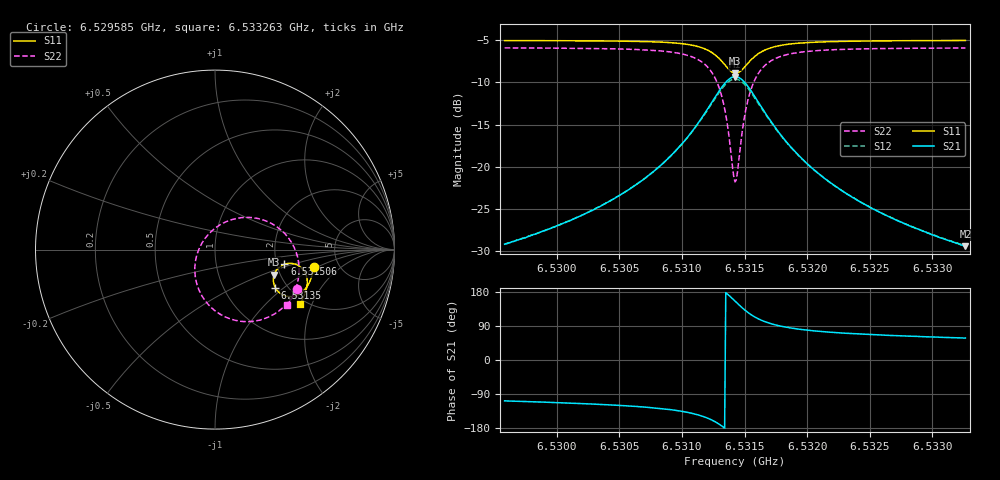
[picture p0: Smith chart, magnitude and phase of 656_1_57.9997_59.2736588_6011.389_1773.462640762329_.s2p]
#  HZ  S  RI  R  50.00
! Rohde & Schwarz Vector Network Analyzer
! Rohde-Schwarz,ZNB20-2Port,1311601062101988,3.16
! Created: UTC 3/21/2024, 1:19:45 AM
! freq[Hz]  re:S11  im:S11  re:S21  im:S21  re:S12  im:S12  re:S22  im:S22
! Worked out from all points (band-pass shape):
!   401 points, 6.529585 GHz to 6.533263 GHz, reference 50 ohm
!   highest |S21| = -9.31 dB at 6.531424 GHz (marker M1); lowest = -29.5 dB at 6.533263 GHz (marker M2)
!   |S21| within 3 dB of the highest: 6.531241 GHz to 6.531609 GHz (367.5 kHz wide, 0.00563 % of centre)
!   lowest |S11| = -8.9 dB at 6.531424 GHz (marker M3), VSWR 2.12, Z = 93.1 - j29.7 ohm
!   |S11| at or under -10 dB: nowhere
!   |S22| runs from -21.8 to -5.9 dB; largest |S21 - S12| = 0.014
!   S11 on the Smith chart (normalised r, x): 6.529585 GHz: 3.25, -0.94; 6.53135 GHz: 1.73, -0.87; 6.531506 GHz: 2.21, -0.43; 6.533263 GHz: 1.84, -1.64
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6.5295847e9  0.5515 -0.0996  -0.0105 -0.033  -0.0114 -0.0326  0.4586 -0.2169
6.5302007e9  0.538 -0.1521  -0.0218 -0.0466  -0.0229 -0.046  0.4225 -0.2754
6.5305685e9  0.5233 -0.1878  -0.0374 -0.0619  -0.0392 -0.0611  0.3818 -0.3204
6.5308168e9  0.5055 -0.2164  -0.0609 -0.079  -0.0631 -0.077  0.3298 -0.3595
6.5310375e9  0.4732 -0.246  -0.1089 -0.0991  -0.1119 -0.095  0.2338 -0.3962
6.5311938e9  0.4223 -0.2618  -0.1884 -0.1004  -0.19 -0.0921  0.0905 -0.3879
6.5312857e9  0.3716 -0.2491  -0.2659 -0.0621  -0.2632 -0.0506  -0.0358 -0.3076
6.5313225e9  0.3495 -0.2315  -0.2981 -0.0255  -0.292 -0.0138  -0.0823 -0.24
6.5313501e9  0.3356 -0.2116  -0.317 0.0126  -0.3078 0.0232  -0.1057 -0.1735
6.5314053e9  0.3257 -0.1581  -0.3228 0.1088  -0.3094 0.114  -0.0961 -0.0146
6.5314236e9  0.3299 -0.139  -0.3117 0.1419  -0.2981 0.1446  -0.0723 0.0369
6.531442e9  0.3383 -0.1214  -0.2945 0.1722  -0.2813 0.1725  -0.0387 0.0828
6.5314788e9  0.3637 -0.0937  -0.246 0.2183  -0.2353 0.215  0.0485 0.1492
6.5315064e9  0.3869 -0.0816  -0.204 0.2376  -0.1958 0.2332  0.1204 0.1737
6.531534e9  0.4101 -0.0769  -0.1634 0.2452  -0.1575 0.2404  0.1889 0.1795
6.5315708e9  0.4373 -0.0788  -0.1163 0.2419  -0.1124 0.2375  0.2672 0.1657
6.5316627e9  0.4821 -0.1025  -0.0405 0.2057  -0.0388 0.2032  0.3894 0.0884
6.5318006e9  0.5076 -0.1422  0.00389 0.1504  0.0051 0.1495  0.4542 -0.0213
6.5320397e9  0.5138 -0.1895  0.0216 0.0954  0.0225 0.0951  0.4682 -0.1327
6.5323064e9  0.5079 -0.2245  0.0231 0.0658  0.0241 0.0654  0.4563 -0.1992
6.5326558e9  0.4959 -0.2586  0.0213 0.0456  0.0221 0.0453  0.4359 -0.2518
6.5332626e9  0.4714 -0.3057  0.0178 0.0286  0.0185 0.0283  0.4011 -0.3096
